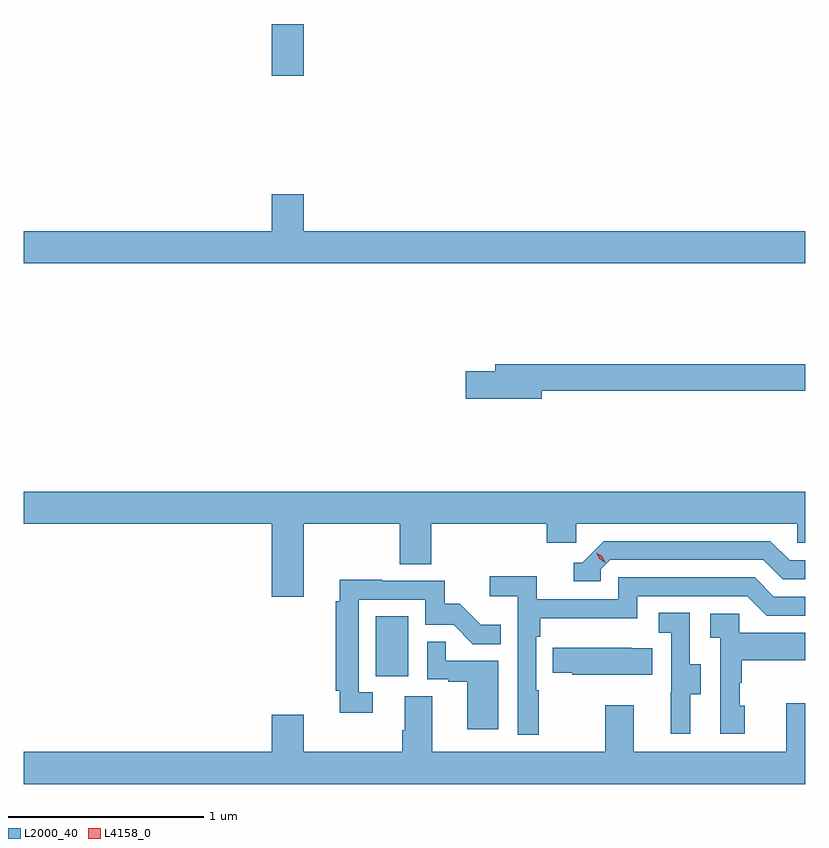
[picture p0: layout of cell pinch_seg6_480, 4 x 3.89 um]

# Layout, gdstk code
import gdstk
lib = gdstk.Library(unit=1e-6, precision=1e-09)
def R(c, l, rs):  # rectangles x0, y0, x1, y1
    for r in rs: c.add(gdstk.rectangle(r[:2], r[2:], *l))
def P(c, l, *ps):  # polygons
    for p in ps: c.add(gdstk.Polygon(p, *l))
L2000_40 = (2000, 40)
L4158_0 = (4158, 0)

pinch_seg6_480 = lib.new_cell('pinch_seg6_480')
R(pinch_seg6_480, L2000_40, [(848.858,931.902,849.022,932.209), (848.324,934.974,848.488,935.24)])
P(pinch_seg6_480, L2000_40, [(851.055,934.18),(848.488,934.18),(848.488,934.369),(848.324,934.369),(848.324,934.18),(847.055,934.18),(847.055,934.016),(851.055,934.016)],
  [(849.706,933.364),(851.055,933.364),(851.055,933.5),(849.467,933.5),(849.467,933.464),(849.318,933.464),(849.318,933.322),(849.706,933.322)],
  [(847.055,932.684),(848.324,932.684),(848.324,932.31),(848.488,932.31),(848.488,932.684),(848.98,932.684),(848.98,932.476),(849.14,932.476),(849.14,932.684),(849.731,932.684),(849.731,932.586),(849.882,932.586),(849.882,932.684),(851.013,932.684),(851.013,932.586),(851.055,932.586),(851.055,932.848),(847.055,932.848)],
  [(850.008,932.451),(850.056,932.499),(850.839,932.499),(850.938,932.4),(851.055,932.4),(851.055,932.496),(850.975,932.496),(850.876,932.595),(850.023,932.595),(849.912,932.484),(849.869,932.484),(849.869,932.388),(850.008,932.388)],
  [(849.691,931.832),(849.678,931.832),(849.678,932.105),(849.698,932.105),(849.698,932.201),(850.194,932.201),(850.194,932.313),(850.758,932.313),(850.857,932.214),(851.055,932.214),(851.055,932.31),(850.894,932.31),(850.795,932.409),(850.098,932.409),(850.098,932.298),(849.68,932.298),(849.68,932.414),(849.441,932.414),(849.441,932.312),(849.582,932.312),(849.582,931.605),(849.691,931.605)],
  [(848.842,931.821),(848.769,931.821),(848.769,932.295),(849.111,932.295),(849.111,932.166),(849.255,932.166),(849.353,932.068),(849.497,932.068),(849.497,932.167),(849.393,932.167),(849.286,932.274),(849.21,932.274),(849.21,932.391),(848.891,932.391),(848.891,932.396),(848.672,932.396),(848.672,932.288),(848.653,932.288),(848.653,931.828),(848.672,931.828),(848.672,931.716),(848.842,931.716)],
  [(850.465,931.81),(850.519,931.81),(850.519,931.965),(850.464,931.965),(850.464,932.228),(850.305,932.228),(850.305,932.125),(850.368,932.125),(850.368,931.821),(850.367,931.821),(850.367,931.608),(850.465,931.608)],
  [(850.744,931.752),(850.719,931.752),(850.719,931.871),(850.729,931.871),(850.729,931.985),(851.055,931.985),(851.055,932.125),(850.716,932.125),(850.716,932.223),(850.569,932.223),(850.569,932.099),(850.62,932.099),(850.62,931.608),(850.744,931.608)],
  [(849.484,931.983),(849.215,931.983),(849.215,932.081),(849.12,932.081),(849.12,931.887),(849.227,931.887),(849.227,931.875),(849.326,931.875),(849.326,931.632),(849.484,931.632)],
  [(850.271,932.047),(850.163,932.047),(850.163,932.05),(849.763,932.05),(849.763,931.921),(849.861,931.921),(849.861,931.91),(850.271,931.91)],
  [(851.055,931.765),(850.958,931.765),(850.958,931.516),(850.177,931.516),(850.177,931.756),(850.03,931.756),(850.03,931.516),(849.145,931.516),(849.145,931.802),(849.005,931.802),(849.005,931.628),(848.993,931.628),(848.993,931.516),(848.488,931.516),(848.488,931.705),(848.324,931.705),(848.324,931.516),(847.055,931.516),(847.055,931.352),(851.055,931.352)])
P(pinch_seg6_480, L4158_0, [(850.032,932.485),(850.001,932.504),(849.984,932.536),(849.984,932.536),(849.984,932.536),(850.015,932.517),(850.032,932.485),(850.032,932.485)])

lib.write_gds('pinch_seg6_480.gds')
